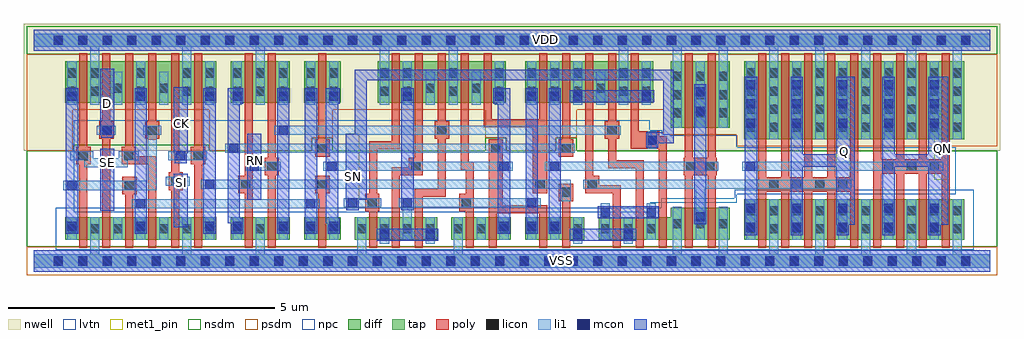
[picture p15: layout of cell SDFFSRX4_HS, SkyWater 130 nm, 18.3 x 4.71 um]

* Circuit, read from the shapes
.subckt SDFFSRX4_HS CK D Q QN RN SE SI SN VDD VSS
XM1 VSS SE n1 VSS sky130_fd_pr__nfet_01v8_lvt w=0.425 l=0.15
XM2 n2 D VSS VSS sky130_fd_pr__nfet_01v8_lvt w=0.425 l=0.15
XM3 n3 n1 n2 VSS sky130_fd_pr__nfet_01v8_lvt w=0.425 l=0.15
XM4 n4 SE n3 VSS sky130_fd_pr__nfet_01v8_lvt w=0.425 l=0.15
XM5 VSS SI n4 VSS sky130_fd_pr__nfet_01v8_lvt w=0.425 l=0.15
XM6 n5 CK VSS VSS sky130_fd_pr__nfet_01v8_lvt w=0.425 l=0.15
XM7 VSS n5 n6 VSS sky130_fd_pr__nfet_01v8_lvt w=0.425 l=0.15
XM8 n7 RN VSS VSS sky130_fd_pr__nfet_01v8_lvt w=0.425 l=0.15
XM9 n8 n5 n3 VSS sky130_fd_pr__nfet_01v8_lvt w=0.425 l=0.15
XM10 n9 SN VSS VSS sky130_fd_pr__nfet_01v8_lvt w=0.425 l=0.15
XM11 n10 n8 n9 VSS sky130_fd_pr__nfet_01v8_lvt w=0.425 l=0.15
XM12 n9 n7 n10 VSS sky130_fd_pr__nfet_01v8_lvt w=0.425 l=0.15
XM13 n11 n10 VSS VSS sky130_fd_pr__nfet_01v8_lvt w=0.425 l=0.15
XM14 n8 n6 n11 VSS sky130_fd_pr__nfet_01v8_lvt w=0.425 l=0.15
XM15 n12 n6 n10 VSS sky130_fd_pr__nfet_01v8_lvt w=0.425 l=0.15
XM16 n13 n5 n12 VSS sky130_fd_pr__nfet_01v8_lvt w=0.425 l=0.15
XM17 n13 n14 n15 VSS sky130_fd_pr__nfet_01v8_lvt w=0.425 l=0.15
XM18 n15 n7 n13 VSS sky130_fd_pr__nfet_01v8_lvt w=0.425 l=0.15
XM19 VSS SN n15 VSS sky130_fd_pr__nfet_01v8_lvt w=0.425 l=0.15
XM20 n14 n12 VSS VSS sky130_fd_pr__nfet_01v8_lvt w=0.6 l=0.15 m=2
XM21 VSS n14 n16 VSS sky130_fd_pr__nfet_01v8_lvt w=0.76 l=0.15
XM22 Q n14 VSS VSS sky130_fd_pr__nfet_01v8_lvt w=0.76 l=0.15 m=4
XM23 QN n16 VSS VSS sky130_fd_pr__nfet_01v8_lvt w=0.76 l=0.15 m=4
XM24 VDD SE n1 VDD sky130_fd_pr__pfet_01v8 w=0.78 l=0.15
XM25 n17 D VDD VDD sky130_fd_pr__pfet_01v8 w=0.78 l=0.15
XM26 n3 SE n17 VDD sky130_fd_pr__pfet_01v8 w=0.78 l=0.15
XM27 n18 n1 n3 VDD sky130_fd_pr__pfet_01v8 w=0.78 l=0.15
XM28 VDD SI n18 VDD sky130_fd_pr__pfet_01v8 w=0.78 l=0.15
XM29 n5 CK VDD VDD sky130_fd_pr__pfet_01v8 w=0.78 l=0.15
XM30 VDD n5 n6 VDD sky130_fd_pr__pfet_01v8 w=0.78 l=0.15
XM31 n7 RN VDD VDD sky130_fd_pr__pfet_01v8 w=0.78 l=0.15
XM32 n8 n6 n3 VDD sky130_fd_pr__pfet_01v8 w=0.78 l=0.15
XM33 n10 SN VDD VDD sky130_fd_pr__pfet_01v8 w=0.78 l=0.15
XM34 n19 n8 n10 VDD sky130_fd_pr__pfet_01v8 w=0.78 l=0.15
XM35 VDD n7 n19 VDD sky130_fd_pr__pfet_01v8 w=0.78 l=0.15
XM36 n20 n10 VDD VDD sky130_fd_pr__pfet_01v8 w=0.78 l=0.15
XM37 n8 n5 n20 VDD sky130_fd_pr__pfet_01v8 w=0.78 l=0.15
XM38 n12 n5 n10 VDD sky130_fd_pr__pfet_01v8 w=0.78 l=0.15
XM39 n21 n6 n12 VDD sky130_fd_pr__pfet_01v8 w=0.78 l=0.15
XM40 n22 n14 n21 VDD sky130_fd_pr__pfet_01v8 w=0.78 l=0.15
XM41 VDD n7 n22 VDD sky130_fd_pr__pfet_01v8 w=0.78 l=0.15
XM42 n21 SN VDD VDD sky130_fd_pr__pfet_01v8 w=0.78 l=0.15
XM43 n14 n12 VDD VDD sky130_fd_pr__pfet_01v8 w=1.25 l=0.15 m=2
XM44 VDD n14 n16 VDD sky130_fd_pr__pfet_01v8 w=1.46 l=0.15
XM45 Q n14 VDD VDD sky130_fd_pr__pfet_01v8 w=1.46 l=0.15 m=4
XM46 QN n16 VDD VDD sky130_fd_pr__pfet_01v8 w=1.46 l=0.15 m=4
.ends

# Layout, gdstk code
from math import pi, radians
import gdstk
lib = gdstk.Library(unit=1e-6, precision=1e-09)
def R(c, l, rs):  # rectangles x0, y0, x1, y1
    for r in rs: c.add(gdstk.rectangle(r[:2], r[2:], *l))
def A(c, l, x, y, w, h, nx, ny, dx, dy):  # array of equal rectangles
    R(c, l, [(x+i*dx, y+j*dy, x+i*dx+w, y+j*dy+h) for i in range(nx) for j in range(ny)])
def P(c, l, *ps):  # polygons
    for p in ps: c.add(gdstk.Polygon(p, *l))
nwell = (64, 20)
diff = (65, 20)
tap = (65, 44)
poly = (66, 20)
licon = (66, 44)
li1 = (67, 20)
mcon = (67, 44)
met1_pin = (68, 16)
met1 = (68, 20)
nsdm = (93, 44)
psdm = (94, 20)
npc = (95, 20)
lvtn = (125, 44)

pyl1con_c_cdns_758729172 = lib.new_cell('PYL1CON_C_CDNS_758729172862')
R(pyl1con_c_cdns_758729172, poly, [(-0.135,-0.165,0.135,0.165)])
R(pyl1con_c_cdns_758729172, licon, [(-0.085,-0.085,0.085,0.085)])
R(pyl1con_c_cdns_758729172, npc, [(-0.185,-0.185,0.185,0.185)])

l1m1_c_cdns_758729172861 = lib.new_cell('L1M1_C_CDNS_7587291728613')
R(l1m1_c_cdns_758729172861, li1, [(-0.085,-0.525,0.085,0.525)])
A(l1m1_c_cdns_758729172861, mcon, -0.085, -0.445, 0.17, 0.17, 1, 3, 0, 0.36)
R(l1m1_c_cdns_758729172861, met1, [(-0.115,-0.505,0.115,0.505)])

c_l1m1_c_cdns_758729172861 = lib.new_cell('L1M1_C_CDNS_758729172861')
R(c_l1m1_c_cdns_758729172861, li1, [(-0.085,-0.165,0.085,0.165)])
R(c_l1m1_c_cdns_758729172861, mcon, [(-0.085,-0.085,0.085,0.085)])
R(c_l1m1_c_cdns_758729172861, met1, [(-0.115,-0.145,0.115,0.145)])

l1m1_c_cdns_758729172864 = lib.new_cell('L1M1_C_CDNS_758729172864')
R(l1m1_c_cdns_758729172864, li1, [(-0.085,-0.345,0.085,0.345)])
R(l1m1_c_cdns_758729172864, mcon, [(-0.085,-0.265,0.085,-0.095), (-0.085,0.095,0.085,0.265)])
R(l1m1_c_cdns_758729172864, met1, [(-0.115,-0.325,0.115,0.325)])

l1m1_c_cdns_758729172860 = lib.new_cell('L1M1_C_CDNS_758729172860')
R(l1m1_c_cdns_758729172860, li1, [(-0.165,-0.085,0.165,0.085)])
R(l1m1_c_cdns_758729172860, mcon, [(-0.085,-0.085,0.085,0.085)])
R(l1m1_c_cdns_758729172860, met1, [(-0.115,-0.145,0.115,0.145)])

l1m1_c_cdns_758729172862 = lib.new_cell('L1M1_C_CDNS_7587291728623')
R(l1m1_c_cdns_758729172862, li1, [(-0.085,-0.165,0.085,0.165)])
R(l1m1_c_cdns_758729172862, mcon, [(-0.085,-0.085,0.085,0.085)])
R(l1m1_c_cdns_758729172862, met1, [(-0.145,-0.085,0.145,0.085)])

polyconn_cdns_7587291728 = lib.new_cell('polyConn_CDNS_758729172861')
R(polyconn_cdns_7587291728, poly, [(-0.135,-0.165,0.135,0.165)])
R(polyconn_cdns_7587291728, licon, [(-0.085,-0.085,0.085,0.085)])
R(polyconn_cdns_7587291728, li1, [(-0.085,-0.165,0.085,0.165)])
R(polyconn_cdns_7587291728, mcon, [(-0.085,-0.085,0.085,0.085)])
R(polyconn_cdns_7587291728, met1, [(-0.115,-0.145,0.115,0.145)])
R(polyconn_cdns_7587291728, npc, [(-0.185,-0.185,0.185,0.185)])

licondiff_c_cdns_7587291 = lib.new_cell('LICONDIFF_C_CDNS_7587291728611')
R(licondiff_c_cdns_7587291, diff, [(-0.125,-0.145,0.125,0.145)])
R(licondiff_c_cdns_7587291, licon, [(-0.085,-0.085,0.085,0.085), (-0.085,-0.085,0.085,0.085)])

sdffsrx4_hs = lib.new_cell('SDFFSRX4_HS')
R(sdffsrx4_hs, nwell, [(-0.18,2.07,18.12,4.445)])
R(sdffsrx4_hs, diff, [(0.595,0.395,3.425,0.82), (3.695,0.395,4.805,0.82), (5.075,0.395,5.755,0.82), (6.025,0.395,7.565,0.82), (7.835,0.395,8.945,0.82), (9.215,0.395,10.325,0.82), (13.325,0.395,17.445,1.155), (13.325,2.285,17.445,3.745), (11.945,2.495,13.055,3.745), (0.595,2.965,3.425,3.745), (3.695,2.965,4.805,3.745), (5.075,2.965,5.755,3.745), (6.455,2.965,8.855,3.745), (9.215,2.965,11.615,3.745)])
P(sdffsrx4_hs, diff, [(13.055,0.995),(11.945,0.995),(11.945,0.82),(10.595,0.82),(10.595,0.395),(13.055,0.395)])
A(sdffsrx4_hs, poly, 13.59, 0.245, 0.15, 3.65, 9, 1, 0.43, 0)
R(sdffsrx4_hs, poly, [(0.86,0.245,1.01,3.895), (1.29,0.245,1.44,3.895), (1.72,0.245,1.87,1.51), (2.58,0.245,2.73,3.895), (3.01,0.245,3.16,3.895), (3.96,0.245,4.11,3.895), (4.39,0.245,4.54,3.895), (5.34,0.245,5.49,1.6), (9.91,0.245,10.06,1.15), (9.91,1.95,10.06,3.895), (5.34,1.965,5.49,3.895), (2.15,2.27,2.3,3.895)])
P(sdffsrx4_hs, poly, [(2.3,1.96),(1.87,1.96),(1.87,3.895),(1.72,3.895),(1.72,1.81),(2.15,1.81),(2.15,0.245),(2.3,0.245)],
  [(6.87,3.895),(6.72,3.895),(6.72,2.245),(6.29,2.245),(6.29,0.245),(6.44,0.245),(6.44,2.095),(6.87,2.095)],
  [(7.3,3.895),(7.15,3.895),(7.15,1.76),(6.72,1.76),(6.72,0.245),(6.87,0.245),(6.87,1.61),(7.3,1.61)],
  [(7.73,3.895),(7.58,3.895),(7.58,1.35),(7.15,1.35),(7.15,0.245),(7.3,0.245),(7.3,1.2),(7.73,1.2)],
  [(8.25,1.86),(8.16,1.86),(8.16,3.895),(8.01,3.895),(8.01,1.71),(8.1,1.71),(8.1,0.245),(8.25,0.245)],
  [(9.63,3.895),(9.48,3.895),(9.48,2.655),(8.59,2.655),(8.59,3.895),(8.44,3.895),(8.44,2.505),(9.36,2.505),(9.36,1.27),(9.63,1.27)],
  [(9.63,1.045),(8.8,1.045),(8.8,2.28),(8.53,2.28),(8.53,0.245),(8.68,0.245),(8.68,0.895),(9.48,0.895),(9.48,0.245),(9.63,0.245)],
  [(11.01,1.42),(10.49,1.42),(10.49,3.895),(10.34,3.895),(10.34,1.27),(10.86,1.27),(10.86,0.245),(11.01,0.245)],
  [(11.44,1.89),(10.92,1.89),(10.92,3.895),(10.77,3.895),(10.77,1.74),(11.29,1.74),(11.29,0.245),(11.44,0.245)],
  [(11.87,2.34),(11.735,2.34),(11.735,2.43),(11.35,2.43),(11.35,3.895),(11.2,3.895),(11.2,2.1),(11.72,2.1),(11.72,0.245),(11.87,0.245)],
  [(12.81,1.94),(12.79,1.94),(12.79,3.895),(12.64,3.895),(12.64,1.94),(12.36,1.94),(12.36,3.895),(12.21,3.895),(12.21,1.94),(12.19,1.94),(12.19,1.61),(12.21,1.61),(12.21,0.245),(12.36,0.245),(12.36,1.61),(12.64,1.61),(12.64,0.245),(12.79,0.245),(12.79,1.61),(12.81,1.61)])
A(sdffsrx4_hs, licon, 0.375, -0.085, 0.17, 0.17, 38, 2, 0.46, 4.14)
A(sdffsrx4_hs, licon, 1.065, 0.52, 0.17, 0.17, 3, 2, 0.86, 2.58)
A(sdffsrx4_hs, licon, 3.735, 0.52, 0.17, 0.17, 3, 2, 0.43, 2.58)
A(sdffsrx4_hs, licon, 6.065, 0.52, 0.17, 0.17, 4, 1, 0.43, 0)
A(sdffsrx4_hs, licon, 9.255, 0.52, 0.17, 0.17, 3, 2, 0.43, 2.58)
A(sdffsrx4_hs, licon, 10.635, 0.52, 0.17, 0.17, 3, 1, 0.43, 0)
A(sdffsrx4_hs, licon, 13.365, 0.52, 0.17, 0.17, 10, 2, 0.43, 0.34)
A(sdffsrx4_hs, licon, 11.985, 0.61, 0.17, 0.17, 3, 2, 0.43, 2.085)
A(sdffsrx4_hs, licon, 13.365, 2.42, 0.17, 0.17, 10, 4, 0.43, 0.34)
A(sdffsrx4_hs, licon, 11.985, 3.035, 0.17, 0.17, 3, 2, 0.43, 0.34)
A(sdffsrx4_hs, licon, 6.925, 3.1, 0.17, 0.17, 3, 2, 0.86, 0.34)
A(sdffsrx4_hs, licon, 1.065, 3.44, 0.17, 0.17, 3, 1, 0.86, 0)
A(sdffsrx4_hs, licon, 3.735, 3.44, 0.17, 0.17, 3, 1, 0.43, 0)
A(sdffsrx4_hs, licon, 9.255, 3.44, 0.17, 0.17, 3, 1, 0.43, 0)
R(sdffsrx4_hs, licon, [(0.635,0.52,0.805,0.69), (3.215,0.52,3.385,0.69), (5.115,0.52,5.285,0.69), (5.545,0.52,5.715,0.69), (7.875,0.52,8.045,0.69), (8.735,0.52,8.905,0.69), (0.635,3.1,0.805,3.27), (3.215,3.1,3.385,3.27), (5.115,3.1,5.285,3.27), (5.545,3.1,5.715,3.27), (6.495,3.1,6.665,3.27), (10.975,3.1,11.145,3.27), (11.405,3.1,11.575,3.27), (0.635,3.44,0.805,3.61), (3.215,3.44,3.385,3.61), (5.115,3.44,5.285,3.61), (5.545,3.44,5.715,3.61), (6.495,3.44,6.665,3.61), (10.975,3.44,11.145,3.61), (11.405,3.44,11.575,3.61)])
A(sdffsrx4_hs, li1, 0.635, 0.395, 0.17, 0.425, 3, 1, 1.29, 0)
A(sdffsrx4_hs, li1, 9.255, 0.395, 0.17, 0.425, 3, 1, 0.43, 0)
A(sdffsrx4_hs, li1, 10.635, 0.395, 0.17, 0.425, 3, 1, 0.43, 0)
A(sdffsrx4_hs, li1, 13.365, 0.395, 0.17, 0.76, 5, 1, 0.86, 0)
A(sdffsrx4_hs, li1, 13.365, 2.285, 0.17, 1.46, 5, 1, 0.86, 0)
A(sdffsrx4_hs, li1, 0.635, 2.965, 0.17, 0.78, 3, 1, 1.29, 0)
A(sdffsrx4_hs, li1, 9.255, 2.965, 0.17, 0.78, 3, 1, 0.43, 0)
R(sdffsrx4_hs, li1, [(3.735,0.395,3.905,0.82), (4.595,0.395,4.765,0.82), (5.115,0.395,5.285,0.82), (5.545,0.395,5.715,0.82), (6.495,0.395,6.665,0.82), (7.355,0.395,7.525,0.82), (8.735,0.395,8.905,0.82), (2.525,1.89,3.25,2.06), (12.415,2.495,12.585,3.745), (3.735,2.965,3.905,3.745), (4.595,2.965,4.765,3.745), (5.115,2.965,5.285,3.745), (5.545,2.965,5.715,3.745), (6.925,2.965,7.095,3.745), (8.645,2.965,8.815,3.745), (11.405,2.965,11.575,3.745)])
P(sdffsrx4_hs, li1, [(1.97,2.06),(1.6,2.06),(1.6,1.93),(1.12,1.93),(1.12,2.06),(0.69,2.06),(0.69,1.89),(0.95,1.89),(0.95,1.76),(1.77,1.76),(1.77,1.89),(1.97,1.89)],
  [(2.39,2.54),(2.06,2.54),(2.06,2.37),(2.14,2.37),(2.14,1.5),(0.72,1.5),(0.72,1.33),(2.31,1.33),(2.31,2.37),(2.39,2.37)],
  [(9.505,1.18),(6.845,1.18),(6.845,1.01),(6.925,1.01),(6.925,0.395),(7.095,0.395),(7.095,1.01),(9.505,1.01)],
  [(15.335,1.52),(10.31,1.52),(10.31,1.35),(12.415,1.35),(12.415,0.395),(12.585,0.395),(12.585,1.35),(15.335,1.35)],
  [(17.94,4.265),(0,4.265),(0,4.015),(1.065,4.015),(1.065,2.925),(1.235,2.925),(1.235,4.015),(2.785,4.015),(2.785,2.925),(2.955,2.925),(2.955,4.015),(4.165,4.015),(4.165,2.925),(4.335,2.925),(4.335,4.015),(6.495,4.015),(6.495,2.925),(6.665,2.925),(6.665,4.015),(7.785,4.015),(7.785,2.925),(7.955,2.925),(7.955,4.015),(10.975,4.015),(10.975,2.925),(11.145,2.925),(11.145,4.015),(11.985,4.015),(11.985,2.495),(12.155,2.495),(12.155,4.015),(12.845,4.015),(12.845,2.495),(13.015,2.495),(13.015,4.015),(13.795,4.015),(13.795,2.285),(13.965,2.285),(13.965,4.015),(14.655,4.015),(14.655,2.285),(14.825,2.285),(14.825,4.015),(15.515,4.015),(15.515,2.285),(15.685,2.285),(15.685,4.015),(16.375,4.015),(16.375,2.285),(16.545,2.285),(16.545,4.015),(17.235,4.015),(17.235,2.285),(17.405,2.285),(17.405,4.015),(17.94,4.015)],
  [(17.94,0.125),(17.405,0.125),(17.405,1.155),(17.235,1.155),(17.235,0.125),(16.545,0.125),(16.545,1.155),(16.375,1.155),(16.375,0.125),(15.685,0.125),(15.685,1.155),(15.515,1.155),(15.515,0.125),(14.825,0.125),(14.825,1.155),(14.655,1.155),(14.655,0.125),(13.965,0.125),(13.965,1.155),(13.795,1.155),(13.795,0.125),(13.015,0.125),(13.015,1.015),(12.845,1.015),(12.845,0.125),(12.155,0.125),(12.155,1.015),(11.985,1.015),(11.985,0.125),(8.045,0.125),(8.045,0.82),(7.875,0.82),(7.875,0.125),(6.235,0.125),(6.235,0.82),(6.065,0.82),(6.065,0.125),(4.335,0.125),(4.335,0.82),(4.165,0.82),(4.165,0.125),(2.955,0.125),(2.955,0.82),(2.785,0.82),(2.785,0.125),(1.235,0.125),(1.235,0.82),(1.065,0.82),(1.065,0.125),(0,0.125),(0,-0.125),(17.94,-0.125)])
A(sdffsrx4_hs, mcon, 0.375, -0.085, 0.17, 0.17, 38, 2, 0.46, 4.14)
R(sdffsrx4_hs, met1_pin, [(2.63,0.635,2.89,1.635), (1.25,0.945,1.51,2.1), (4.01,1.145,4.27,2.385), (5.85,1.145,6.11,2.385), (15.05,1.46,15.31,2.7), (16.89,1.52,17.15,2.76), (2.63,2.02,2.89,3.26), (1.25,2.36,1.51,3.6)])
P(sdffsrx4_hs, met1, [(12.005,3.59),(6.02,3.59),(6.02,2.385),(5.85,2.385),(5.85,1.145),(6.25,1.145),(6.25,3.39),(11.805,3.39),(11.805,2.41),(11.5,2.41),(11.5,2.145),(11.7,2.145),(11.7,2.21),(12.005,2.21)],
  [(15.395,3.45),(15.05,3.45),(15.05,2),(14.425,2),(14.425,3.45),(14.195,3.45),(14.195,0.68),(14.425,0.68),(14.425,1.77),(15.05,1.77),(15.05,0.68),(15.395,0.68)],
  [(17.15,3.455),(16.775,3.455),(16.775,2),(16.145,2),(16.145,3.45),(15.915,3.45),(15.915,0.68),(16.145,0.68),(16.145,1.77),(16.775,1.77),(16.775,0.68),(17.15,0.68)])
R(sdffsrx4_hs, nsdm, [(-0.125,3.875,18.065,4.405)])
P(sdffsrx4_hs, nsdm, [(18.065,2.07),(10.18,2.07),(10.18,2.31),(9.79,2.31),(9.79,2.07),(8.86,2.07),(8.86,2.31),(8.47,2.31),(8.47,2.07),(5.61,2.07),(5.61,2.31),(5.22,2.31),(5.22,2.07),(3.29,2.07),(3.29,2.175),(0.735,2.175),(0.735,2.07),(-0.125,2.07),(-0.125,0.265),(18.065,0.265)])
R(sdffsrx4_hs, psdm, [(-0.125,-0.265,18.065,0.265)])
P(sdffsrx4_hs, psdm, [(18.065,3.875),(-0.125,3.875),(-0.125,2.07),(0.735,2.07),(0.735,2.835),(3.29,2.835),(3.29,2.07),(5.22,2.07),(5.22,2.31),(5.61,2.31),(5.61,2.835),(8.47,2.835),(8.47,2.31),(8.86,2.31),(8.86,2.07),(9.79,2.07),(9.79,2.31),(10.18,2.31),(10.18,2.835),(11.805,2.835),(11.805,2.37),(13.185,2.37),(13.185,2.155),(18.065,2.155)])
P(sdffsrx4_hs, npc, [(17.29,2.13),(13.185,2.13),(13.185,2.355),(11.92,2.355),(11.92,2.38),(11.55,2.38),(11.55,2.64),(0.75,2.64),(0.75,0.915),(11.55,0.915),(11.55,1.09),(13.185,1.09),(13.185,1.25),(17.29,1.25)])
P(sdffsrx4_hs, lvtn, [(17.625,1.335),(13.145,1.335),(13.145,1.175),(11.765,1.175),(11.765,1),(0.415,1),(0.415,0.215),(17.625,0.215)])
sdffsrx4_hs.add(gdstk.FlexPath([(1.38,2.455),(1.18,2.455)], 0.17, ends="flush", simple_path=True, layer=67, datatype=20))  # li1
sdffsrx4_hs.add(gdstk.FlexPath([(2.76,1.495),(2.48,1.495)], 0.17, ends="flush", simple_path=True, layer=67, datatype=20))  # li1
sdffsrx4_hs.add(gdstk.FlexPath([(1.58,2.925),(1.58,3.55)], 0.17, ends="flush", simple_path=True, layer=67, datatype=20))  # li1
sdffsrx4_hs.add(gdstk.FlexPath([(1.845,1.075),(5.365,1.075)], 0.17, ends="flush", simple_path=True, layer=67, datatype=20))  # li1
sdffsrx4_hs.add(gdstk.FlexPath([(7.44,2.925),(7.44,3.55)], 0.17, ends="flush", simple_path=True, layer=67, datatype=20))  # li1
sdffsrx4_hs.add(gdstk.FlexPath([(8.3,2.925),(8.3,3.55)], 0.17, ends="flush", simple_path=True, layer=67, datatype=20))  # li1
sdffsrx4_hs.add(gdstk.FlexPath([(9.585,1.775),(12.84,1.775)], 0.17, ends="flush", simple_path=True, layer=67, datatype=20))  # li1
sdffsrx4_hs.add(gdstk.FlexPath([(2.44,2.925),(2.44,3.55)], 0.17, ends="flush", simple_path=True, layer=67, datatype=20))  # li1
sdffsrx4_hs.add(gdstk.FlexPath([(4.68,2.455),(11.01,2.455)], 0.17, ends="flush", simple_path=True, layer=67, datatype=20))  # li1
sdffsrx4_hs.add(gdstk.FlexPath([(3.885,2.115),(10.15,2.115)], 0.17, ends="flush", simple_path=True, layer=67, datatype=20))  # li1
sdffsrx4_hs.add(gdstk.FlexPath([(5.63,1.775),(8.985,1.775)], 0.17, ends="flush", simple_path=True, layer=67, datatype=20))  # li1
sdffsrx4_hs.add(gdstk.FlexPath([(3.135,1.435),(9.985,1.435),(9.985,1.12)], 0.17, ends="flush", simple_path=True, layer=67, datatype=20))  # li1
sdffsrx4_hs.add(gdstk.FlexPath([(13.45,1.775),(17.055,1.775)], 0.17, ends="flush", simple_path=True, layer=67, datatype=20))  # li1
sdffsrx4_hs.add(gdstk.FlexPath([(10.63,2.925),(10.63,3.55)], 0.17, ends="flush", simple_path=True, layer=67, datatype=20))  # li1
sdffsrx4_hs.add(gdstk.FlexPath([(1.58,0.395),(1.58,0.82)], 0.17, ends="flush", simple_path=True, layer=67, datatype=20))  # li1
sdffsrx4_hs.add(gdstk.FlexPath([(2.44,0.395),(2.44,0.82)], 0.17, ends="flush", simple_path=True, layer=67, datatype=20))  # li1
sdffsrx4_hs.add(gdstk.FlexPath([(8.39,0.395),(8.39,0.82)], 0.17, ends="flush", simple_path=True, layer=67, datatype=20))  # li1
sdffsrx4_hs.add(gdstk.FlexPath([(4.63,1.775),(4.085,1.775)], 0.17, ends="flush", simple_path=True, layer=67, datatype=20))  # li1
sdffsrx4_hs.add(gdstk.FlexPath([(6.515,1.095),(5.97,1.095)], 0.17, ends="flush", simple_path=True, layer=67, datatype=20))  # li1
sdffsrx4_hs.add(gdstk.FlexPath([(0,4.14),(17.94,4.14)], 0.4, ends="flush", simple_path=True, layer=68, datatype=20))  # met1
sdffsrx4_hs.add(gdstk.FlexPath([(0,0),(17.94,0)], 0.4, ends="flush", simple_path=True, layer=68, datatype=20))  # met1
sdffsrx4_hs.add(gdstk.FlexPath([(1.38,0.945),(1.38,2.1)], 0.26, ends="flush", simple_path=True, layer=68, datatype=20))  # met1
sdffsrx4_hs.add(gdstk.FlexPath([(4.14,1.145),(4.14,2.385)], 0.26, ends="flush", simple_path=True, layer=68, datatype=20))  # met1
sdffsrx4_hs.add(gdstk.FlexPath([(2.76,2.02),(2.76,3.26)], 0.26, ends="flush", simple_path=True, layer=68, datatype=20))  # met1
sdffsrx4_hs.add(gdstk.FlexPath([(1.38,2.36),(1.38,3.6)], 0.26, ends="flush", simple_path=True, layer=68, datatype=20))  # met1
sdffsrx4_hs.add(gdstk.FlexPath([(3.3,0.705),(3.3,3.235)], 0.23, ends="flush", simple_path=True, layer=68, datatype=20))  # met1
sdffsrx4_hs.add(gdstk.FlexPath([(2.01,0.705),(2.01,3.235)], 0.23, ends="flush", simple_path=True, layer=68, datatype=20))  # met1
sdffsrx4_hs.add(gdstk.FlexPath([(5.2,0.705),(5.2,3.235)], 0.23, ends="flush", simple_path=True, layer=68, datatype=20))  # met1
sdffsrx4_hs.add(gdstk.FlexPath([(13.45,0.68),(13.45,3.45)], 0.23, ends="flush", simple_path=True, layer=68, datatype=20))  # met1
sdffsrx4_hs.add(gdstk.FlexPath([(12.5,0.88),(12.5,3.315)], 0.23, ends="flush", simple_path=True, layer=68, datatype=20))  # met1
sdffsrx4_hs.add(gdstk.FlexPath([(9.77,0.705),(9.77,3.235)], 0.23, ends="flush", simple_path=True, layer=68, datatype=20))  # met1
sdffsrx4_hs.add(gdstk.FlexPath([(9.34,0.705),(9.34,3.235)], 0.23, ends="flush", simple_path=True, layer=68, datatype=20))  # met1
sdffsrx4_hs.add(gdstk.FlexPath([(3.755,0.705),(3.755,3.235)], 0.23, ends="flush", simple_path=True, layer=68, datatype=20))  # met1
sdffsrx4_hs.add(gdstk.FlexPath([(4.68,0.705),(4.68,3.235)], 0.23, ends="flush", simple_path=True, layer=68, datatype=20))  # met1
sdffsrx4_hs.add(gdstk.FlexPath([(5.595,0.705),(5.595,3.235)], 0.23, ends="flush", simple_path=True, layer=68, datatype=20))  # met1
sdffsrx4_hs.add(gdstk.FlexPath([(8.82,0.705),(8.82,3.235)], 0.23, ends="flush", simple_path=True, layer=68, datatype=20))  # met1
sdffsrx4_hs.add(gdstk.FlexPath([(0.72,0.705),(0.72,3.235)], 0.23, ends="flush", simple_path=True, layer=68, datatype=20))  # met1
sdffsrx4_hs.add(gdstk.FlexPath([(10.055,0.49),(11.295,0.49)], 0.23, ends="flush", simple_path=True, layer=68, datatype=20))  # met1
sdffsrx4_hs.add(gdstk.FlexPath([(10.055,3.09),(11.635,3.09)], 0.23, ends="flush", simple_path=True, layer=68, datatype=20))  # met1
sdffsrx4_hs.add(gdstk.FlexPath([(10.575,0.915),(11.725,0.915)], 0.23, ends="flush", simple_path=True, layer=68, datatype=20))  # met1
sdffsrx4_hs.add(gdstk.FlexPath([(7.01,1.145),(7.01,3.235)], 0.23, ends="flush", simple_path=True, layer=68, datatype=20))  # met1
sdffsrx4_hs.add(gdstk.FlexPath([(6.435,0.49),(7.585,0.49)], 0.23, ends="flush", simple_path=True, layer=68, datatype=20))  # met1
sdffsrx4_hs.add(gdstk.FlexPath([(2.76,0.635),(2.76,1.64)], 0.26, ends="flush", simple_path=True, layer=68, datatype=20))  # met1
sdffsrx4_hs.add(gdstk.FlexPath([(0,4.14),(17.94,4.14)], 0.4, ends="flush", simple_path=True, layer=68, datatype=16))  # met1_pin
sdffsrx4_hs.add(gdstk.FlexPath([(0,0),(17.94,0)], 0.4, ends="flush", simple_path=True, layer=68, datatype=16))  # met1_pin
sdffsrx4_hs.add(gdstk.FlexPath([(0,4.14),(17.94,4.14)], 0.25, ends="flush", simple_path=True, layer=65, datatype=44))  # tap
sdffsrx4_hs.add(gdstk.FlexPath([(0,0),(17.94,0)], 0.25, ends="flush", simple_path=True, layer=65, datatype=44))  # tap
sdffsrx4_hs.add(gdstk.Reference(pyl1con_c_cdns_758729172, (16.03,1.775), rotation=3*pi/2, x_reflection=True))
sdffsrx4_hs.add(gdstk.Reference(pyl1con_c_cdns_758729172, (16.46,1.775), rotation=3*pi/2, x_reflection=True))
sdffsrx4_hs.add(gdstk.Reference(pyl1con_c_cdns_758729172, (15.17,1.435), rotation=3*pi/2, x_reflection=True))
sdffsrx4_hs.add(gdstk.Reference(pyl1con_c_cdns_758729172, (14.74,1.435), rotation=3*pi/2, x_reflection=True))
sdffsrx4_hs.add(gdstk.Reference(pyl1con_c_cdns_758729172, (14.31,1.435), rotation=3*pi/2, x_reflection=True))
sdffsrx4_hs.add(gdstk.Reference(pyl1con_c_cdns_758729172, (6.35,1.095), x_reflection=True))
sdffsrx4_hs.add(gdstk.Reference(pyl1con_c_cdns_758729172, (4.465,1.775), x_reflection=True))
sdffsrx4_hs.add(gdstk.Reference(pyl1con_c_cdns_758729172, (1.365,2.455), x_reflection=True))
sdffsrx4_hs.add(gdstk.Reference(pyl1con_c_cdns_758729172, (3.085,1.975), x_reflection=True))
sdffsrx4_hs.add(gdstk.Reference(pyl1con_c_cdns_758729172, (2.665,1.495), x_reflection=True))
sdffsrx4_hs.add(gdstk.Reference(pyl1con_c_cdns_758729172, (16.89,1.775), rotation=3*pi/2, x_reflection=True))
sdffsrx4_hs.add(gdstk.Reference(pyl1con_c_cdns_758729172, (0.935,1.975)))
sdffsrx4_hs.add(gdstk.Reference(pyl1con_c_cdns_758729172, (1.785,1.975)))
sdffsrx4_hs.add(gdstk.Reference(pyl1con_c_cdns_758729172, (10.845,2.455)))
sdffsrx4_hs.add(gdstk.Reference(pyl1con_c_cdns_758729172, (7.655,2.455)))
sdffsrx4_hs.add(gdstk.Reference(pyl1con_c_cdns_758729172, (7.165,1.775)))
sdffsrx4_hs.add(gdstk.Reference(pyl1con_c_cdns_758729172, (12.675,1.775), rotation=pi, x_reflection=True))
sdffsrx4_hs.add(gdstk.Reference(pyl1con_c_cdns_758729172, (12.325,1.775), rotation=pi, x_reflection=True))
sdffsrx4_hs.add(gdstk.Reference(pyl1con_c_cdns_758729172, (9.495,1.435), x_reflection=True))
sdffsrx4_hs.add(gdstk.Reference(pyl1con_c_cdns_758729172, (9.985,1.285)))
sdffsrx4_hs.add(gdstk.Reference(pyl1con_c_cdns_758729172, (3.975,1.435)))
sdffsrx4_hs.add(gdstk.Reference(pyl1con_c_cdns_758729172, (5.415,1.435)))
sdffsrx4_hs.add(gdstk.Reference(pyl1con_c_cdns_758729172, (9.985,2.115)))
sdffsrx4_hs.add(gdstk.Reference(pyl1con_c_cdns_758729172, (5.415,2.115)))
sdffsrx4_hs.add(gdstk.Reference(pyl1con_c_cdns_758729172, (8.665,2.115)))
sdffsrx4_hs.add(gdstk.Reference(pyl1con_c_cdns_758729172, (8.115,1.095)))
sdffsrx4_hs.add(gdstk.Reference(pyl1con_c_cdns_758729172, (10.475,1.435), rotation=pi, x_reflection=True))
sdffsrx4_hs.add(gdstk.Reference(pyl1con_c_cdns_758729172, (13.88,1.435), rotation=3*pi/2, x_reflection=True))
sdffsrx4_hs.add(gdstk.Reference(pyl1con_c_cdns_758729172, (2.225,2.455), x_reflection=True))
sdffsrx4_hs.add(gdstk.Reference(pyl1con_c_cdns_758729172, (1.795,1.415)))
sdffsrx4_hs.add(gdstk.Reference(l1m1_c_cdns_758729172861, (16.03,2.945)))
sdffsrx4_hs.add(gdstk.Reference(l1m1_c_cdns_758729172861, (16.89,2.945)))
sdffsrx4_hs.add(gdstk.Reference(l1m1_c_cdns_758729172861, (13.45,2.945)))
sdffsrx4_hs.add(gdstk.Reference(l1m1_c_cdns_758729172861, (15.17,2.945)))
sdffsrx4_hs.add(gdstk.Reference(l1m1_c_cdns_758729172861, (14.31,2.945)))
sdffsrx4_hs.add(gdstk.Reference(c_l1m1_c_cdns_758729172861, (0.72,3.09)))
sdffsrx4_hs.add(gdstk.Reference(c_l1m1_c_cdns_758729172861, (0.72,0.655)))
sdffsrx4_hs.add(gdstk.Reference(c_l1m1_c_cdns_758729172861, (8.82,0.655)))
sdffsrx4_hs.add(gdstk.Reference(c_l1m1_c_cdns_758729172861, (8.73,3.09)))
sdffsrx4_hs.add(gdstk.Reference(c_l1m1_c_cdns_758729172861, (5.63,3.09)))
sdffsrx4_hs.add(gdstk.Reference(c_l1m1_c_cdns_758729172861, (5.63,0.655)))
sdffsrx4_hs.add(gdstk.Reference(c_l1m1_c_cdns_758729172861, (4.68,3.09)))
sdffsrx4_hs.add(gdstk.Reference(c_l1m1_c_cdns_758729172861, (4.68,0.655)))
sdffsrx4_hs.add(gdstk.Reference(c_l1m1_c_cdns_758729172861, (2.01,0.655)))
sdffsrx4_hs.add(gdstk.Reference(c_l1m1_c_cdns_758729172861, (2.01,3.09)))
sdffsrx4_hs.add(gdstk.Reference(c_l1m1_c_cdns_758729172861, (5.2,0.655)))
sdffsrx4_hs.add(gdstk.Reference(c_l1m1_c_cdns_758729172861, (5.2,3.09)))
sdffsrx4_hs.add(gdstk.Reference(c_l1m1_c_cdns_758729172861, (9.77,3.09)))
sdffsrx4_hs.add(gdstk.Reference(c_l1m1_c_cdns_758729172861, (9.77,0.655)))
sdffsrx4_hs.add(gdstk.Reference(c_l1m1_c_cdns_758729172861, (3.3,0.655)))
sdffsrx4_hs.add(gdstk.Reference(c_l1m1_c_cdns_758729172861, (3.3,3.09)))
sdffsrx4_hs.add(gdstk.Reference(c_l1m1_c_cdns_758729172861, (3.82,0.655)))
sdffsrx4_hs.add(gdstk.Reference(c_l1m1_c_cdns_758729172861, (3.82,3.09)))
sdffsrx4_hs.add(gdstk.Reference(c_l1m1_c_cdns_758729172861, (9.34,0.655)))
sdffsrx4_hs.add(gdstk.Reference(c_l1m1_c_cdns_758729172861, (7.01,3.09)))
sdffsrx4_hs.add(gdstk.Reference(c_l1m1_c_cdns_758729172861, (12.5,0.83), rotation=pi, x_reflection=True))
sdffsrx4_hs.add(gdstk.Reference(c_l1m1_c_cdns_758729172861, (9.34,3.09)))
sdffsrx4_hs.add(gdstk.Reference(l1m1_c_cdns_758729172864, (12.5,2.99), rotation=pi, x_reflection=True))
sdffsrx4_hs.add(gdstk.Reference(l1m1_c_cdns_758729172864, (16.03,0.81)))
sdffsrx4_hs.add(gdstk.Reference(l1m1_c_cdns_758729172864, (16.89,0.81)))
sdffsrx4_hs.add(gdstk.Reference(l1m1_c_cdns_758729172864, (15.17,0.81)))
sdffsrx4_hs.add(gdstk.Reference(l1m1_c_cdns_758729172864, (14.31,0.81)))
sdffsrx4_hs.add(gdstk.Reference(l1m1_c_cdns_758729172864, (13.45,0.81)))
sdffsrx4_hs.add(gdstk.Reference(l1m1_c_cdns_758729172860, (5.98,1.095), x_reflection=True))
sdffsrx4_hs.add(gdstk.Reference(l1m1_c_cdns_758729172860, (4.14,1.775), x_reflection=True))
sdffsrx4_hs.add(gdstk.Reference(l1m1_c_cdns_758729172860, (1.38,1.845), x_reflection=True))
sdffsrx4_hs.add(gdstk.Reference(l1m1_c_cdns_758729172860, (1.38,2.455), x_reflection=True))
sdffsrx4_hs.add(gdstk.Reference(l1m1_c_cdns_758729172860, (2.76,1.975), x_reflection=True))
sdffsrx4_hs.add(gdstk.Reference(l1m1_c_cdns_758729172860, (13.45,1.775)))
sdffsrx4_hs.add(gdstk.Reference(l1m1_c_cdns_758729172860, (2.76,1.495), x_reflection=True))
sdffsrx4_hs.add(gdstk.Reference(l1m1_c_cdns_758729172860, (0.72,1.415)))
sdffsrx4_hs.add(gdstk.Reference(l1m1_c_cdns_758729172860, (4.68,2.455)))
sdffsrx4_hs.add(gdstk.Reference(l1m1_c_cdns_758729172860, (8.82,1.775)))
sdffsrx4_hs.add(gdstk.Reference(l1m1_c_cdns_758729172860, (5.595,1.775)))
sdffsrx4_hs.add(gdstk.Reference(l1m1_c_cdns_758729172860, (2.01,1.075)))
sdffsrx4_hs.add(gdstk.Reference(l1m1_c_cdns_758729172860, (5.2,1.075)))
sdffsrx4_hs.add(gdstk.Reference(l1m1_c_cdns_758729172860, (3.3,1.435)))
sdffsrx4_hs.add(gdstk.Reference(l1m1_c_cdns_758729172860, (3.755,2.115)))
sdffsrx4_hs.add(gdstk.Reference(l1m1_c_cdns_758729172860, (7.01,1.095)))
sdffsrx4_hs.add(gdstk.Reference(l1m1_c_cdns_758729172860, (9.34,1.095)))
sdffsrx4_hs.add(gdstk.Reference(l1m1_c_cdns_758729172860, (9.77,1.775)))
sdffsrx4_hs.add(gdstk.Reference(l1m1_c_cdns_758729172862, (6.58,0.49)))
sdffsrx4_hs.add(gdstk.Reference(l1m1_c_cdns_758729172862, (11.58,0.915)))
sdffsrx4_hs.add(gdstk.Reference(l1m1_c_cdns_758729172862, (10.72,0.915)))
sdffsrx4_hs.add(gdstk.Reference(l1m1_c_cdns_758729172862, (11.15,0.49)))
sdffsrx4_hs.add(gdstk.Reference(l1m1_c_cdns_758729172862, (10.2,0.49)))
sdffsrx4_hs.add(gdstk.Reference(l1m1_c_cdns_758729172862, (11.49,3.09)))
sdffsrx4_hs.add(gdstk.Reference(l1m1_c_cdns_758729172862, (10.2,3.09)))
sdffsrx4_hs.add(gdstk.Reference(l1m1_c_cdns_758729172862, (7.44,0.49)))
sdffsrx4_hs.add(gdstk.Reference(polyconn_cdns_7587291728, (11.6,2.265)))
sdffsrx4_hs.add(gdstk.Reference(licondiff_c_cdns_7587291, (8.39,0.605)))
sdffsrx4_hs.add(gdstk.Reference(licondiff_c_cdns_7587291, (2.44,0.605)))
sdffsrx4_hs.add(gdstk.Reference(licondiff_c_cdns_7587291, (1.58,0.605)))
sdffsrx4_hs.add(gdstk.Reference(licondiff_c_cdns_7587291, (10.63,3.235)))
sdffsrx4_hs.add(gdstk.Reference(licondiff_c_cdns_7587291, (8.3,3.235)))
sdffsrx4_hs.add(gdstk.Reference(licondiff_c_cdns_7587291, (7.44,3.235)))
sdffsrx4_hs.add(gdstk.Reference(licondiff_c_cdns_7587291, (2.44,3.235)))
sdffsrx4_hs.add(gdstk.Reference(licondiff_c_cdns_7587291, (1.58,3.235)))
sdffsrx4_hs.add(gdstk.Label('VDD', (9.59,4.145), layer=68, texttype=5))
sdffsrx4_hs.add(gdstk.Label('RN', (4.155,1.88), layer=68, texttype=5))
sdffsrx4_hs.add(gdstk.Label('CK', (2.775,2.575), layer=68, texttype=5))
sdffsrx4_hs.add(gdstk.Label('SE', (1.395,1.85), layer=68, texttype=5))
sdffsrx4_hs.add(gdstk.Label('D', (1.395,2.955), layer=68, texttype=5))
sdffsrx4_hs.add(gdstk.Label('SN', (5.995,1.585), layer=68, texttype=5))
sdffsrx4_hs.add(gdstk.Label('SI', (2.775,1.465), layer=68, texttype=5))
sdffsrx4_hs.add(gdstk.Label('Q', (15.195,2.055), layer=68, texttype=5))
sdffsrx4_hs.add(gdstk.Label('QN', (17.035,2.115), layer=68, texttype=5))
sdffsrx4_hs.add(gdstk.Label('VSS', (9.9,0.005), layer=68, texttype=5))

lib.write_gds('SDFFSRX4_HS.gds')
